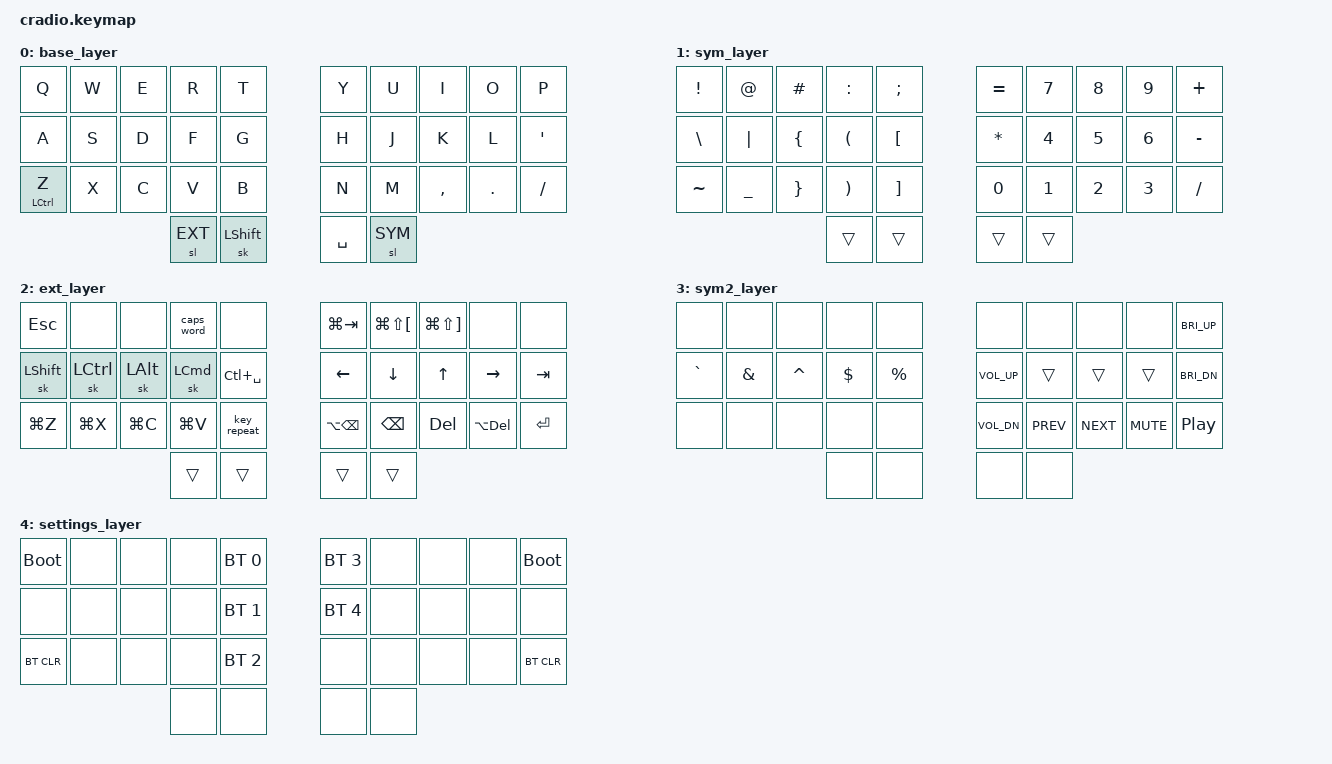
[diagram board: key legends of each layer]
// Copyright (c) 2022 The ZMK Contributors
// SPDX-License-Identifier: MIT

#include <behaviors.dtsi>
#include <dt-bindings/zmk/keys.h>
#include <dt-bindings/zmk/bt.h>

// Layer definitions
    #define BASE 0
    #define SYM 1
    #define EXT 2
    #define SYM2 3
    #define SETTINGS 4

&mt {
   //  flavor = "tap-preferred";
   // tapping_term_ms = <200>;
};

/ {
    behaviors {
        ht: hold_tap {
            label = "hold_tap";
            compatible = "zmk,behavior-hold-tap";
            #binding-cells = <2>;
            flavor = "tap-preferred";
            tapping-term-ms = <220>;
            quick-tap-ms = <150>;
            global-quick-tap;
            bindings = <&kp>, <&kp>;
        };
    };

    combos {
        compatible = "zmk,combos";
				// external-left & external-right thumb keys
				combo_sym2 {
						timeout-ms = <200>;
						key-positions = <30 33>;
						bindings = <&sl SYM2>;
				};
				// both left thumb keys
				combo_settings {
						timeout-ms = <200>;
						key-positions = <30 31>;
            layers = <SYM>;
						bindings = <&mo SETTINGS>;
				};
    };

    keymap {
        compatible = "zmk,keymap";
        base_layer {
            bindings = <
        //╭────────────┬────────────┬────────────┬────────────┬────────────╮   ╭────────────┬────────────┬────────────┬────────────┬────────────╮
        //│      Q     │      W     │     E      │     R      │     T      │   │     Y      │     U      │     I      │     O      │     P      │
               &kp Q        &kp W        &kp E       &kp R         &kp T           &kp Y        &kp U        &kp I        &kp O         &kp P
        //├────────────┬────────────┬────────────┬────────────┬────────────┤   ├────────────┬────────────┬────────────┬────────────┬────────────┤
        //│     A      │     S      │     D      │     F      │     G      │   │     H      │     J      │     K      │     L      │    ' "     │
            &kp A      &kp S      &kp D      &kp F      &kp G          &kp H      &kp J      &kp K      &kp L      &kp QUOT
        //├────────────┬────────────┬────────────┬────────────┬────────────┤   ├────────────┬────────────┬────────────┬────────────┬────────────┤
        //│     Z      │     X      │     C      │     V      │     B      │   │     N      │      M     │    , <     │    .  >    │    / ?     │
           &ht LCTRL Z  &kp X      &kp C      &kp V      &kp B          &kp N      &kp M      &kp COMMA  &kp DOT    &kp FSLH
        //├──────────────────────────────────────┬────────────┬────────────╯   ├────────────┬────────────┬──────────────────────────────────────╯
                                                     &sl EXT    &sk LSHFT        &kp SPACE     &sl SYM
        //                                       ╰────────────┴────────────╯   ╰────────────┴────────────╯
            >;
        };

        sym_layer {
            bindings = <
        //╭────────────┬────────────┬────────────┬────────────┬────────────╮   ╭────────────┬────────────┬────────────┬────────────┬────────────╮
        //│     !      │     @      │    HASH    │     :      │      ;     │   │     =      │      7     │      8     │      9     │      +     │
            &kp EXCL       &kp AT     &kp HASH     &kp COLON      &kp SEMI         &kp EQUAL     &kp N7        &kp N8      &kp N9      &kp PLUS
        //├────────────┬────────────┬────────────┬────────────┬────────────┤   ├────────────┬────────────┬────────────┬────────────┬────────────┤
        //│     \      │     |      │     {      │      )     │      ]     │   │     *      │      4     │      5     │      6     │      -     │
            &kp BSLH      &kp PIPE     &kp LBRC     &kp LPAR      &kp LBKT        &kp STAR      &kp N4       &kp N5       &kp N6     &kp MINUS
        //├────────────┬────────────┬────────────┬────────────┬────────────┤   ├────────────┬────────────┬────────────┬────────────┬────────────┤
        //│     ~      │     _      │     }      │      )     │      ]     │   │     0      │      1     │      2     │      3     │     /      │
            &kp TILDE    &kp UNDER     &kp RBRC     &kp RPAR     &kp RBKT          &kp N0       &kp N1        &kp N2      &kp N3      &kp FSLH
        //├──────────────────────────────────────┬────────────┬────────────╯   ├────────────┬────────────┬──────────────────────────────────────╯
                                                     &trans       &trans          &trans       &trans
        //                                       ╰────────────┴────────────╯   ╰────────────┴────────────╯
            >;
        };

        ext_layer {
            bindings = <
        //╭────────────┬────────────┬────────────┬────────────┬────────────╮   ╭────────────┬────────────┬────────────┬────────────┬────────────╮
        //│   ESC      │            │            │   CAPS W   │            │   │  SWITCH APP│   PREV TAB │   NEXT TAB │            │            │
             &kp ESC       &none         &none     &caps_word      &none        &kp LG(TAB) &kp LG(LS(LBKT)) &kp LG(LS(RBKT)) &none    &none
        //├────────────┬────────────┬────────────┬────────────┬────────────┤   ├────────────┬────────────┬────────────┬────────────┬────────────┤
        //│    SHIFT   │    CTRL    │   OPTION   │  COMMAND   │   TMUX mod │   │    LEFT    │    DOWN    │      UP    │    RIGHT   │     TAB    │
            &sk LSHFT     &sk LCTRL   &sk LALT   &sk LCMD      &kp LC(SPACE)      &kp LEFT      &kp DOWN     &kp UP      &kp RIGHT     &kp TAB
        //├────────────┬────────────┬────────────┬────────────┬────────────┤   ├────────────┬────────────┬────────────┬────────────┬────────────┤
        //│    UNDO    │     CUT    │    COPY    │    PASTE   │ KEY REPEAT │   │BACK SPACE W│ BACK SPACE │   DELETE   │  DELETE W  │   ENTER    │
            &kp LG(Z)     &kp LG(X)    &kp LG(C)   &kp LG(V)    &key_repeat     &kp LA(BSPC)   &kp BSPC      &kp DEL    &kp LA(DEL)   &kp RET
        //├──────────────────────────────────────┬────────────┬────────────╯   ├────────────┬────────────┬──────────────────────────────────────╯
                                                        &trans      &trans        &trans        &trans
        //                                       ╰────────────┴────────────╯   ╰────────────┴────────────╯
            >;
        };

        sym2_layer {
            bindings = <
        //╭────────────┬────────────┬────────────┬────────────┬────────────╮   ╭────────────┬────────────┬────────────┬────────────┬────────────╮
        //│            │            │            │            │            │   │            │            │            │            │BRIGHTNESS +│
               &none       &none        &none        &none          &none           &none       &none         &none       &none     &kp C_BRI_UP
        //├────────────┬────────────┬────────────┬────────────┬────────────┤   ├────────────┬────────────┬────────────┬────────────┬────────────┤
        //│      `     │      &     │      ^     │      $     │      %     │   │  VOLUME UP │            │            │            │BRIGHTNESS -│
            &kp GRAVE     &kp AMPS     &kp CARET    &kp DLLR     &kp PRCNT      &kp C_VOL_UP    &trans       &trans     &trans      &kp C_BRI_DN
        //├────────────┬────────────┬────────────┬────────────┬────────────┤   ├────────────┬────────────┬────────────┬────────────┬────────────┤
        //│            │            │            │            │            │   │VOLUME DOWN │  PREV SONG │ NEXT SONG  │    MUTE    │ PLAY/PAUSE │
             &none          &none        &none        &none        &none        &kp C_VOL_DN  &kp C_PREV   &kp C_NEXT   &kp K_MUTE &kp C_PLAY_PAUSE
        //├──────────────────────────────────────┬────────────┬────────────╯   ├────────────┬────────────┬──────────────────────────────────────╯
                                                     &none        &none            &none         &none
        //                                       ╰────────────┴────────────╯   ╰────────────┴────────────╯
            >;
        };

        settings_layer {
            bindings = <
        //╭────────────┬────────────┬────────────┬────────────┬────────────╮   ╭────────────┬────────────┬────────────┬────────────┬────────────╮
        //│            │            │            │            │            │   │            │            │            │            │            │
           &bootloader      &none        &none       &none     &bt BT_SEL 0     &bt BT_SEL 3    &none         &none       &none      &bootloader
        //├────────────┬────────────┬────────────┬────────────┬────────────┤   ├────────────┬────────────┬────────────┬────────────┬────────────┤
        //│            │            │            │            │            │   │ NEXT SONG  │            │            │            │            │
              &none         &none        &none       &none     &bt BT_SEL 1    &bt BT_SEL 4    &none         &none       &none        &none
        //├────────────┬────────────┬────────────┬────────────┬────────────┤   ├────────────┬────────────┬────────────┬────────────┬────────────┤
        //│   BT CLEAR │            │            │            │            │   │            │            │            │            │  BT CLEAR  │
            &bt BT_CLR      &none        &none       &none     &bt BT_SEL 2       &none        &none         &none        &none     &bt BT_CLR
        //├──────────────────────────────────────┬────────────┬────────────╯   ├────────────┬────────────┬──────────────────────────────────────╯
                                                        &none      &none           &none        &none
        //                                       ╰────────────┴────────────╯   ╰────────────┴────────────╯
            >;
        };
    };
};
